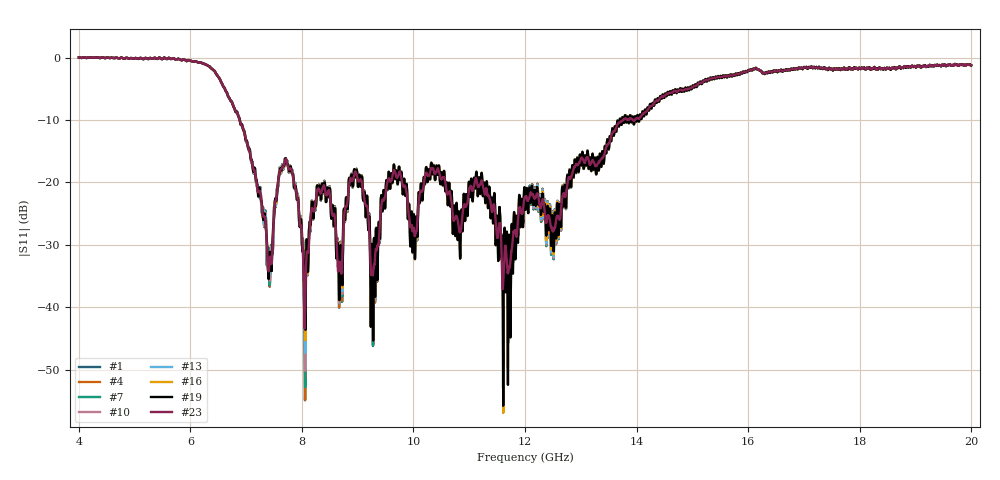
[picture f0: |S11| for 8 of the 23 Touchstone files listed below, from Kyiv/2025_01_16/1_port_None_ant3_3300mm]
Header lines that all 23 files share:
[Version] 2.0
! Rohde & Schwarz Vector Network Analyzer
! Rohde-Schwarz,ZNL20-2Port,1323001220200009,1.71.1.10-23.02.1.238
! Port Assignments:
! Nominal Port -> Actual Test Port
!  1 -> 1
# Hz S RI R 50
[Number of Ports] 1
! freq[Hz]  S11[Re]  S11[Im]
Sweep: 4 GHz to 20 GHz
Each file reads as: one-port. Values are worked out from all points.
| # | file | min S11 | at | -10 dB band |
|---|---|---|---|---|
| 1 | 0.01.s1p | -54.9 dB | 8.055 GHz | 6.812 GHz wide |
| 2 | 1.s1p | -54.5 dB | 8.056 GHz | 6.812 GHz wide |
| 3 | 2.s1p | -53.2 dB | 8.056 GHz | 6.812 GHz wide |
| 4 | 3.s1p | -54.9 dB | 8.056 GHz | 6.812 GHz wide |
| 5 | 4.s1p | -53.7 dB | 8.056 GHz | 6.812 GHz wide |
| 6 | 5.s1p | -51.9 dB | 8.055 GHz | 6.811 GHz wide |
| 7 | 6.s1p | -52.8 dB | 8.057 GHz | 6.812 GHz wide |
| 8 | 7.s1p | -51.3 dB | 8.057 GHz | 6.812 GHz wide |
| 9 | 8.s1p | -50.3 dB | 8.057 GHz | 6.812 GHz wide |
| 10 | 9.s1p | -50.2 dB | 8.057 GHz | 6.812 GHz wide |
| 11 | 10.s1p | -49.3 dB | 8.057 GHz | 6.813 GHz wide |
| 12 | 11.s1p | -48.2 dB | 8.059 GHz | 6.816 GHz wide |
| 13 | 12.s1p | -53.0 dB | 11.61 GHz | 6.817 GHz wide |
| 14 | 13.s1p | -59.2 dB | 11.61 GHz | 6.816 GHz wide |
| 15 | 14.s1p | -68.0 dB | 11.61 GHz | 6.815 GHz wide |
| 16 | 15.s1p | -57.0 dB | 11.61 GHz | 6.815 GHz wide |
| 17 | 16.s1p | -60.6 dB | 11.61 GHz | 6.814 GHz wide |
| 18 | 17.s1p | -57.3 dB | 11.61 GHz | 6.814 GHz wide |
| 19 | 18.s1p | -55.8 dB | 11.61 GHz | 6.814 GHz wide |
| 20 | 19.8.s1p | -58.6 dB | 11.61 GHz | 6.814 GHz wide |
| 21 | 19.s1p | -58.3 dB | 11.61 GHz | 6.814 GHz wide |
| 22 | metal.s1p | -59.4 dB | 11.7 GHz | 6.777 GHz wide |
| 23 | noDUT.s1p | -43.4 dB | 8.045 GHz | 6.874 GHz wide |
